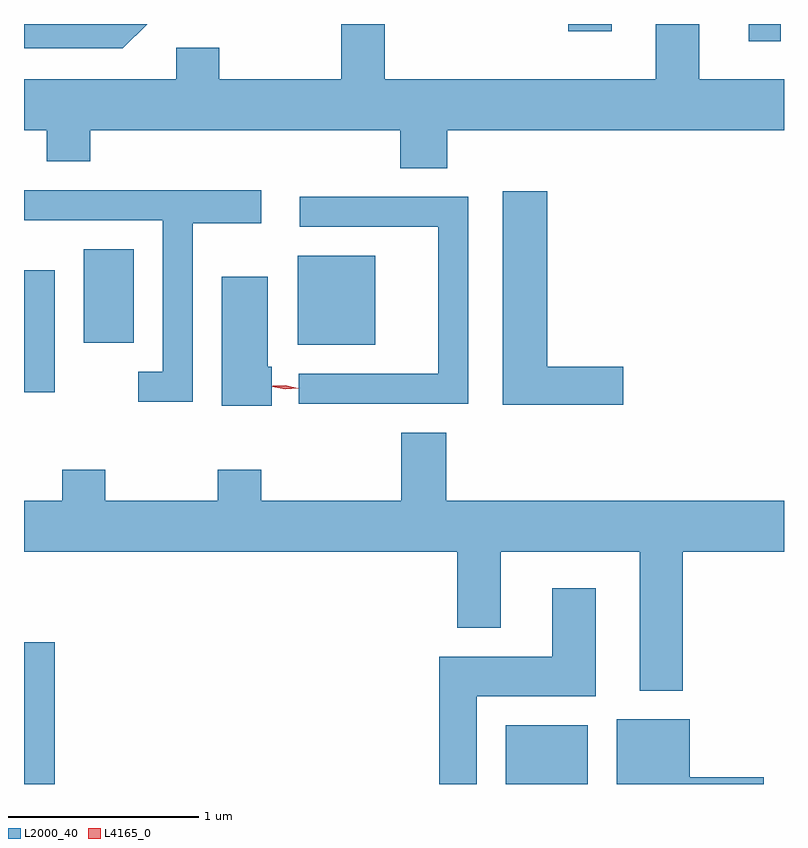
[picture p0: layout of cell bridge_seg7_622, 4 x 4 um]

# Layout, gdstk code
import gdstk
lib = gdstk.Library(unit=1e-6, precision=1e-09)
def R(c, l, rs):  # rectangles x0, y0, x1, y1
    for r in rs: c.add(gdstk.rectangle(r[:2], r[2:], *l))
def P(c, l, *ps):  # polygons
    for p in ps: c.add(gdstk.Polygon(p, *l))
L2000_40 = (2000, 40)
L4165_0 = (4165, 0)

bridge_seg7_622 = lib.new_cell('bridge_seg7_622')
R(bridge_seg7_622, L2000_40, [(759.231,1686.454,759.394,1687.199), (761.766,1686.454,762.199,1686.764), (759.231,1688.516,759.394,1689.159), (760.671,1688.766,761.079,1689.234), (759.546,1688.776,759.809,1689.269), (763.046,1690.363,763.214,1690.454), (762.096,1690.416,762.324,1690.454)])
P(bridge_seg7_622, L2000_40, [(761.459,1689.896),(763.231,1689.896),(763.231,1690.164),(762.784,1690.164),(762.784,1690.454),(762.556,1690.454),(762.556,1690.164),(761.129,1690.164),(761.129,1690.454),(760.901,1690.454),(760.901,1690.164),(760.259,1690.164),(760.259,1690.329),(760.031,1690.329),(760.031,1690.164),(759.231,1690.164),(759.231,1689.896),(759.351,1689.896),(759.351,1689.731),(759.579,1689.731),(759.579,1689.896),(761.211,1689.896),(761.211,1689.696),(761.459,1689.696)],
  [(759.879,1690.454),(759.231,1690.454),(759.231,1690.326),(759.752,1690.326)],
  [(760.119,1689.406),(760.479,1689.406),(760.479,1689.579),(759.231,1689.579),(759.231,1689.421),(759.961,1689.421),(759.961,1688.624),(759.833,1688.624),(759.833,1688.466),(760.119,1688.466)],
  [(762.384,1688.649),(761.984,1688.649),(761.984,1689.574),(761.751,1689.574),(761.751,1688.451),(762.384,1688.451)],
  [(761.569,1689.544),(760.683,1689.544),(760.683,1689.386),(761.411,1689.386),(761.411,1688.614),(760.678,1688.614),(760.678,1688.456),(761.569,1688.456)],
  [(760.534,1688.649),(760.514,1688.649),(760.514,1689.124),(760.271,1689.124),(760.271,1688.446),(760.534,1688.446)],
  [(762.699,1687.676),(763.231,1687.676),(763.231,1687.944),(761.454,1687.944),(761.454,1688.304),(761.216,1688.304),(761.216,1687.944),(760.479,1687.944),(760.479,1688.109),(760.251,1688.109),(760.251,1687.944),(759.659,1687.944),(759.659,1688.109),(759.431,1688.109),(759.431,1687.944),(759.231,1687.944),(759.231,1687.676),(761.511,1687.676),(761.511,1687.276),(761.739,1687.276),(761.739,1687.676),(762.471,1687.676),(762.471,1686.946),(762.699,1686.946)],
  [(761.614,1686.916),(762.239,1686.916),(762.239,1687.484),(762.011,1687.484),(762.011,1687.124),(761.416,1687.124),(761.416,1686.454),(761.614,1686.454)],
  [(763.124,1686.489),(762.734,1686.489),(762.734,1686.794),(762.351,1686.794),(762.351,1686.454),(763.124,1686.454)])
P(bridge_seg7_622, L4165_0, [(760.606,1688.531),(760.538,1688.544),(760.537,1688.544),(760.538,1688.545),(760.607,1688.55),(760.675,1688.537),(760.676,1688.537),(760.675,1688.536)],
  [(760.605,1688.533),(760.541,1688.548),(760.54,1688.549),(760.541,1688.549),(760.607,1688.553),(760.672,1688.537),(760.672,1688.537),(760.672,1688.536)])

lib.write_gds('bridge_seg7_622.gds')
